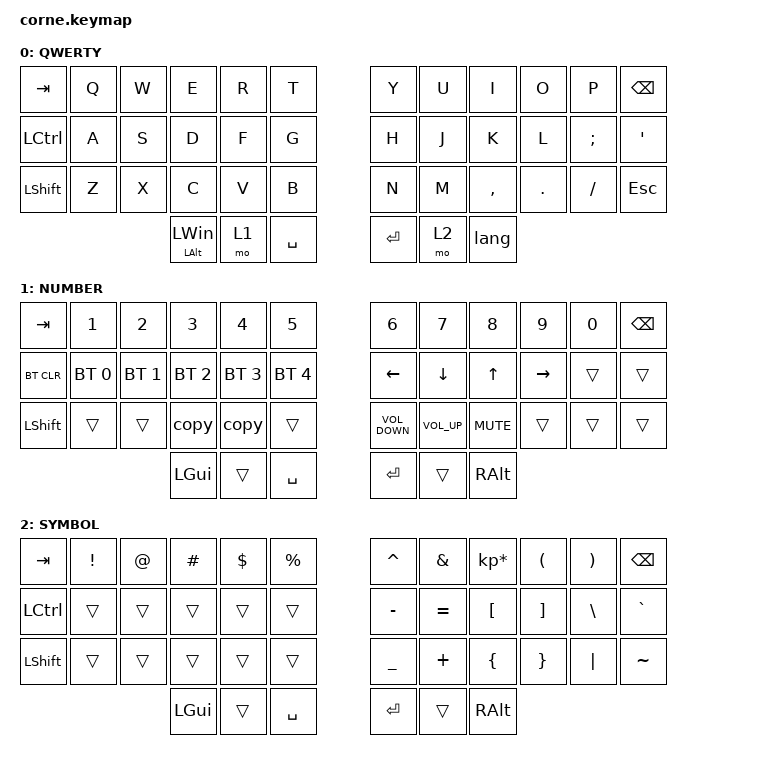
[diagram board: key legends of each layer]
/*
 * Copyright (c) 2020 The ZMK Contributors
 *
 * SPDX-License-Identifier: MIT
 */

#include <behaviors.dtsi>
#include <dt-bindings/zmk/bt.h>
#include <dt-bindings/zmk/keys.h>

/ {
    macros {
        copy: copy {
            compatible = "zmk,behavior-macro";
            #binding-cells = <0>;
            bindings = <&kp LC(C)>;
            label = "COPY";
        };

        paste: paste {
            compatible = "zmk,behavior-macro";
            #binding-cells = <0>;
            bindings = <&kp LG(V)>;
            label = "PASTE";
        };

        lang: lang {
            compatible = "zmk,behavior-macro";
            #binding-cells = <0>;
            bindings = <&kp LG(SPACE)>;
            label = "LANG";
        };
    };

    keymap {
        compatible = "zmk,keymap";

        default_layer {
            // -----------------------------------------------------------------------------------------
            // |  TAB |  Q  |  W  |  E  |  R  |  T  |   |  Y  |  U   |  I  |  O  |  P  | BKSP |
            // | CTRL |  A  |  S  |  D  |  F  |  G  |   |  H  |  J   |  K  |  L  |  ;  |  '   |
            // | SHFT |  Z  |  X  |  C  |  V  |  B  |   |  N  |  M   |  ,  |  .  |  /  | ESC  |
            //                    | GUI | LWR | SPC |   | ENT | RSE  | ALT |

            display-name = "QWERTY";
            bindings = <
&kp TAB    &kp Q  &kp W  &kp E                  &kp R  &kp T        &kp Y    &kp U  &kp I      &kp O    &kp P     &kp BSPC
&kp LCTRL  &kp A  &kp S  &kp D                  &kp F  &kp G        &kp H    &kp J  &kp K      &kp L    &kp SEMI  &kp SQT
&kp LSHFT  &kp Z  &kp X  &kp C                  &kp V  &kp B        &kp N    &kp M  &kp COMMA  &kp DOT  &kp FSLH  &kp ESC
                         &mt LEFT_ALT LEFT_WIN  &mo 1  &kp SPACE    &kp RET  &mo 2  &lang
            >;
        };

        lower_layer {
            // -----------------------------------------------------------------------------------------
            // |  TAB |  1  |  2  |  3  |  4  |  5  |   |  6  |  7  |  8  |  9  |  0  | BKSP |
            // | BTCLR| BT1 | BT2 | BT3 | BT4 | BT5 |   | LFT | DWN |  UP | RGT |     |      |
            // | SHFT |     |     |     |     |     |   |     |     |     |     |     |      |
            //                    | GUI |     | SPC |   | ENT |     | ALT |

            display-name = "NUMBER";
            bindings = <
&kp TAB     &kp N1        &kp N2        &kp N3        &kp N4        &kp N5          &kp N6             &kp N7           &kp N8      &kp N9     &kp N0  &kp BSPC
&bt BT_CLR  &bt BT_SEL 0  &bt BT_SEL 1  &bt BT_SEL 2  &bt BT_SEL 3  &bt BT_SEL 4    &kp LEFT           &kp DOWN         &kp UP      &kp RIGHT  &trans  &trans
&kp LSHFT   &trans        &trans        &copy         &copy         &trans          &kp C_VOLUME_DOWN  &kp C_VOLUME_UP  &kp K_MUTE  &trans     &trans  &trans
                                        &kp LGUI      &trans        &kp SPACE       &kp RET            &trans           &kp RALT
            >;
        };

        raise_layer {
            // -----------------------------------------------------------------------------------------
            // |  TAB |  !  |  @  |  #  |  $  |  %  |   |  ^  |  &  |  *  |  (  |  )  | BKSP |
            // | CTRL |     |     |     |     |     |   |  -  |  =  |  [  |  ]  |  \  |  `   |
            // | SHFT |     |     |     |     |     |   |  _  |  +  |  {  |  }  | "|" |  ~   |
            //                    | GUI |     | SPC |   | ENT |     | ALT |

            display-name = "SYMBOL";
            bindings = <
&kp TAB    &kp EXCL  &kp AT  &kp HASH  &kp DLLR  &kp PRCNT    &kp CARET  &kp AMPS   &kp KP_MULTIPLY  &kp LPAR  &kp RPAR  &kp BSPC
&kp LCTRL  &trans    &trans  &trans    &trans    &trans       &kp MINUS  &kp EQUAL  &kp LBKT         &kp RBKT  &kp BSLH  &kp GRAVE
&kp LSHFT  &trans    &trans  &trans    &trans    &trans       &kp UNDER  &kp PLUS   &kp LBRC         &kp RBRC  &kp PIPE  &kp TILDE
                             &kp LGUI  &trans    &kp SPACE    &kp RET    &trans     &kp RALT
            >;
        };
    };
};
